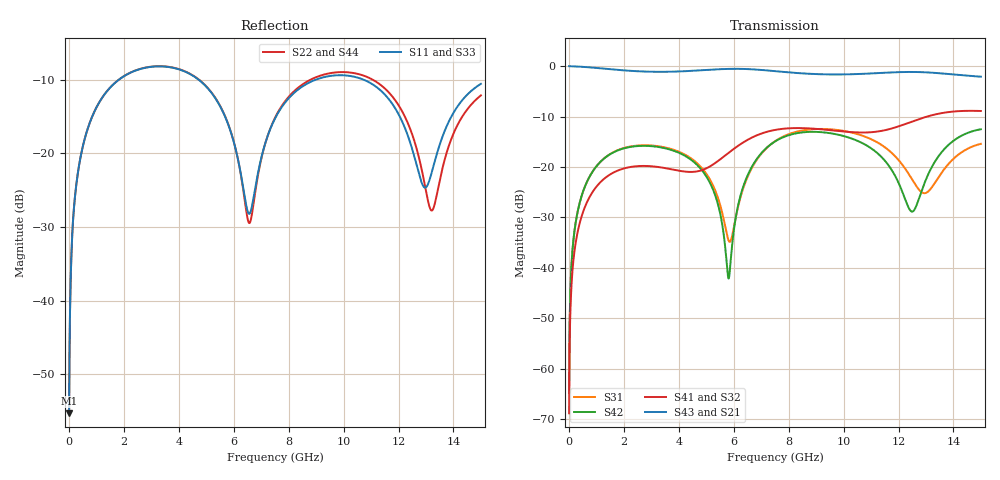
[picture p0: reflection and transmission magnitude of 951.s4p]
! Created with skrf 1.8.0 (http://scikit-rf.org).
# GHz S RI R 50.0
!freq ReS11 ImS11 ReS12 ImS12 ReS13 ImS13
! ReS14 ImS14
! ReS21 ImS21 ReS22 ImS22 ReS23 ImS23
! ReS24 ImS24
! ReS31 ImS31 ReS32 ImS32 ReS33 ImS33
! ReS34 ImS34
! ReS41 ImS41 ReS42 ImS42 ReS43 ImS43
! ReS44 ImS44
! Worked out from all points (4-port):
!   2499 points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, 5 MHz to 15 GHz, reference 50 ohm
!   strongest paths, dB at 5 MHz, 3.476 GHz, 7.19 GHz, 11.1 GHz, 15 GHz:
!     S43: 0.0, -1.1, -0.8, -1.4, -2.1
!     S21: 0.0, -1.1, -0.8, -1.4, -2.1
!     S41: -68.8, -20.2, -13.1, -13.1, -8.9
!     S32: -68.8, -20.2, -13.1, -13.1, -8.9
!     S42: -64.7, -16.3, -16.2, -16.7, -12.5
!     S31: -64.7, -16.1, -16.3, -14.7, -15.4
!   lowest |S11| = -55.3 dB at 5 MHz (marker M1), VSWR 1.00, Z = 50.1 + j0.104 ohm
!   |S11| at or under -10 dB: start of sweep to 1.808 GHz; 4.73 GHz to 8.97 GHz (4.24 GHz wide, 61.9 % of centre); 10.75 GHz to end of sweep
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0.005  0.00137 0.00104  0.9986 -0.00267  6.92e-05 0.000576  -6.7e-05 -0.000355
       0.9986 -0.00267  0.00137 0.00104  -6.7e-05 -0.000355  6.91e-05 0.000576
       6.92e-05 0.000576  -6.7e-05 -0.000355  0.00137 0.00104  0.9986 -0.00267
       -6.7e-05 -0.000355  6.91e-05 0.000576  0.9986 -0.00267  0.00137 0.00104
0.3626511  0.0222 0.0791  0.9694 -0.1924  0.011 0.0397  -0.00897 -0.0243
           0.9694 -0.1924  0.0223 0.0791  -0.00897 -0.0243  0.0107 0.0398
           0.011 0.0397  -0.00897 -0.0243  0.0222 0.0791  0.9694 -0.1924
           -0.00897 -0.0243  0.0107 0.0398  0.9694 -0.1924  0.0223 0.0791
1.619545  0.2271 0.1885  0.6342 -0.6741  0.1192 0.0742  -0.0857 -0.0202
          0.6342 -0.6741  0.2281 0.188  -0.0857 -0.0202  0.1161 0.0776
          0.1192 0.0742  -0.0857 -0.0202  0.2271 0.1884  0.6343 -0.6741
          -0.0857 -0.0202  0.1161 0.0776  0.6343 -0.6741  0.228 0.188
5.80867  0.0837 -0.131  -0.8452 -0.4062  -0.0163 -0.00924  -0.0555 0.1262
         -0.8452 -0.4062  0.0792 -0.1351  -0.0557 0.1261  -0.00726 -0.00299
         -0.0163 -0.00924  -0.0557 0.1261  0.0828 -0.1286  -0.8458 -0.406
         -0.0555 0.1262  -0.00726 -0.00299  -0.8458 -0.406  0.0777 -0.1329
6.558983  0.0387 -0.00393  -0.9311 -0.058  0.0022 0.0862  -0.00671 0.1892
          -0.9311 -0.058  0.0333 -0.00481  -0.00705 0.1891  0.00422 0.0888
          0.0022 0.0862  -0.00705 0.1891  0.039 -0.000874  -0.9311 -0.0576
          -0.00671 0.1892  0.00422 0.0888  -0.9311 -0.0576  0.0326 -0.00185
10.65444  0.3075 -0.0924  0.1673 0.8205  0.1447 -0.1463  0.1899 -0.1105
          0.1673 0.8205  0.3222 -0.1136  0.19 -0.1094  0.1595 -0.0696
          0.1447 -0.1463  0.19 -0.1094  0.3084 -0.0922  0.1647 0.8209
          0.1899 -0.1105  0.1595 -0.0696  0.1647 0.8209  0.3229 -0.1119
15  0.2658 0.1331  0.5966 -0.5112  0.1572 0.0639  -0.2786 -0.2263
    0.5966 -0.5112  0.2143 0.125  -0.2769 -0.2271  0.2361 0.0175
    0.1572 0.0639  -0.2769 -0.2271  0.2671 0.1338  0.6011 -0.5062
    -0.2786 -0.2263  0.2361 0.0175  0.6011 -0.5062  0.2108 0.129
